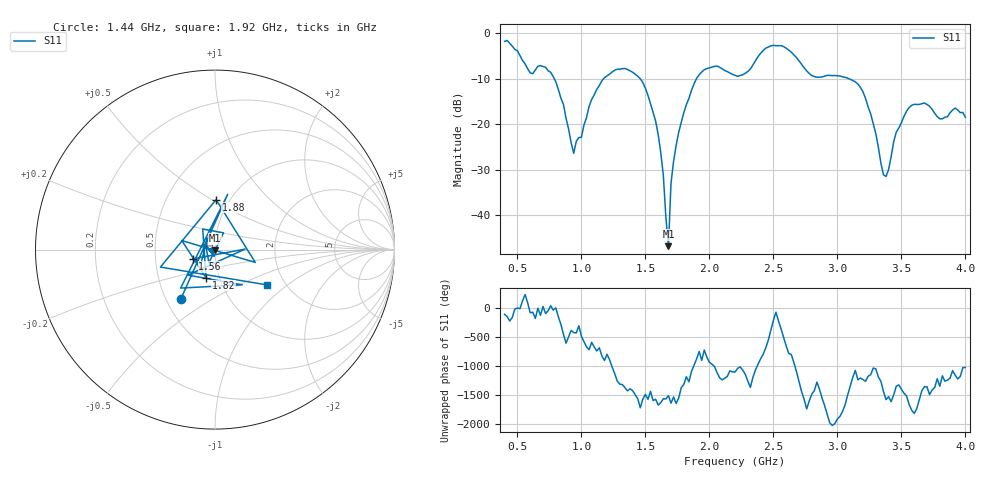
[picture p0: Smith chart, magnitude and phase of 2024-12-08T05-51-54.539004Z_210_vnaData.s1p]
!Created with skrf (http://scikit-rf.org).
# Hz S RI R 50.0
!freq ReS11 ImS11
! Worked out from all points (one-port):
!   181 points, 400 MHz to 4 GHz, reference 50 ohm
!   lowest |S11| = -46.9 dB at 1.68 GHz (marker M1), VSWR 1.01, Z = 50.1 - j0.434 ohm
!   |S11| at or under -10 dB: 788.2 MHz to 1.174 GHz (385.5 MHz wide, 39.3 % of centre); 1.46 GHz to 1.899 GHz (438.6 MHz wide, 26.1 % of centre); 3.09 GHz to end of sweep
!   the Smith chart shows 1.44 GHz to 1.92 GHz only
!   S11 on the Smith chart (normalised r, x): 1.44 GHz: 0.59, -0.37; 1.56 GHz: 0.77, -0.08; 1.82 GHz: 0.86, -0.28; 1.88 GHz: 0.87, +0.52; 1.92 GHz: 1.61, -0.72
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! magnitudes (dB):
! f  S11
! 400 MHz  -1.8
! 600 MHz  -8.7
! 760 MHz  -8.6
! 860 MHz  -15.7
! 940 MHz  -26.4
! 1.12 GHz  -12.3
! 1.3 GHz  -7.9
! 1.44 GHz  -9.4
! 1.56 GHz  -17.4
! 1.62 GHz  -26.3
! 1.64 GHz  -31.3
! 1.68 GHz  -46.9
! 1.7 GHz  -33.1
! 1.76 GHz  -21.8
! 1.82 GHz  -15.7
! 1.88 GHz  -11.1
! 1.92 GHz  -9.1
! 2.06 GHz  -7.2
! 2.2 GHz  -9.2
! 2.48 GHz  -2.8
! 2.66 GHz  -4.7
! 2.8 GHz  -9.3
! 3.1 GHz  -10.1
! 3.22 GHz  -14.3
! 3.38 GHz  -31.5
! 3.46 GHz  -21.8
! 3.56 GHz  -16.4
! 4 GHz  -18.5
